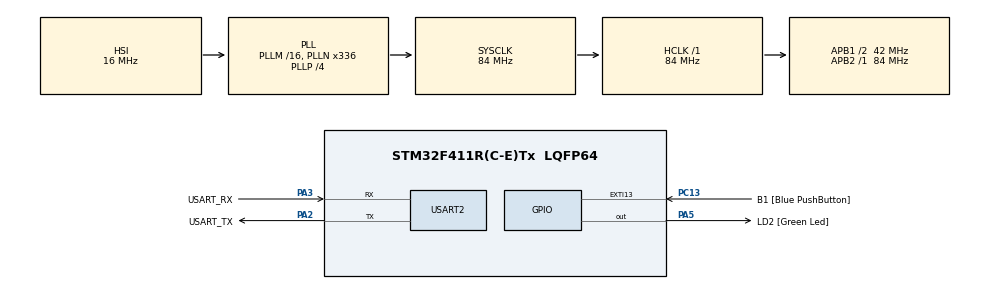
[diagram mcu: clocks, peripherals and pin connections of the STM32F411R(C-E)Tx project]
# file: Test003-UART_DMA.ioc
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Dma.Request0=USART2_RX
Dma.USART2_RX.0.Direction=DMA_PERIPH_TO_MEMORY
Dma.USART2_RX.0.FIFOMode=DMA_FIFOMODE_DISABLE
Dma.USART2_RX.0.Instance=DMA1_Stream5
Dma.USART2_RX.0.MemDataAlignment=DMA_MDATAALIGN_BYTE
Dma.USART2_RX.0.MemInc=DMA_MINC_ENABLE
Dma.USART2_RX.0.Mode=DMA_CIRCULAR
Dma.USART2_RX.0.PeriphDataAlignment=DMA_PDATAALIGN_BYTE
Dma.USART2_RX.0.PeriphInc=DMA_PINC_DISABLE
Dma.USART2_RX.0.Priority=DMA_PRIORITY_LOW
Mcu.Family=STM32F4
Mcu.Name=STM32F411R(C-E)Tx
Mcu.Package=LQFP64
NVIC.DMA1_Stream5_IRQn=true\:0\:0\:false\:false\:true\:false\:true\:true
NVIC.PriorityGroup=NVIC_PRIORITYGROUP_0
PA13.GPIO_Label=TMS
PA13.Mode=Serial_Wire
PA13.Signal=SYS_JTMS-SWDIO
PA14.GPIO_Label=TCK
PA14.Mode=Serial_Wire
PA14.Signal=SYS_JTCK-SWCLK
PA2.GPIO_Label=USART_TX
PA2.Mode=Asynchronous
PA2.Signal=USART2_TX
PA3.GPIO_Label=USART_RX
PA3.Mode=Asynchronous
PA3.Signal=USART2_RX
PA5.GPIO_Label=LD2 [Green Led]
PA5.Signal=GPIO_Output
PB3.GPIO_Label=SWO
PB3.Signal=SYS_JTDO-SWO
PC13-ANTI_TAMP.GPIO_Label=B1 [Blue PushButton]
PC13-ANTI_TAMP.GPIO_ModeDefaultEXTI=GPIO_MODE_IT_FALLING
PC13-ANTI_TAMP.Signal=GPXTI13
PC14-OSC32_IN.Mode=LSE-External-Oscillator
PC14-OSC32_IN.Signal=RCC_OSC32_IN
PC15-OSC32_OUT.Mode=LSE-External-Oscillator
PC15-OSC32_OUT.Signal=RCC_OSC32_OUT
PH0\ -\ OSC_IN.Mode=HSE-External-Clock-Source
PH0\ -\ OSC_IN.Signal=RCC_OSC_IN
PH1\ -\ OSC_OUT.Mode=HSE-External-Clock-Source
PH1\ -\ OSC_OUT.Signal=RCC_OSC_OUT
ProjectManager.HeapSize=0x200
ProjectManager.StackSize=0x400
ProjectManager.TargetToolchain=STM32CubeIDE
RCC.48MHZClocksFreq_Value=84000000
RCC.AHBFreq_Value=84000000
RCC.APB1CLKDivider=RCC_HCLK_DIV2
RCC.APB1Freq_Value=42000000
RCC.APB1TimFreq_Value=84000000
RCC.APB2Freq_Value=84000000
RCC.APB2TimFreq_Value=84000000
RCC.CortexFreq_Value=84000000
RCC.FLatency-AdvancedSettings=FLASH_LATENCY_2
RCC.HCLKFreq_Value=84000000
RCC.HSE_VALUE=8000000
RCC.HSI_VALUE=16000000
RCC.PLLN=336
RCC.PLLP=RCC_PLLP_DIV4
RCC.SYSCLKFreq_VALUE=84000000
RCC.SYSCLKSource=RCC_SYSCLKSOURCE_PLLCLK
RCC.VCOOutputFreq_Value=336000000
USART2.VirtualMode=VM_ASYNC
board=NUCLEO-F411RE

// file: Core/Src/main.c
/* USER CODE BEGIN Header */
/**
  ******************************************************************************
  * @file           : main.c
  * @brief          : Main program body
  ******************************************************************************
  * @attention
  *
  * Copyright (c) 2024 STMicroelectronics.
  * All rights reserved.
  *
  * This software is licensed under terms that can be found in the LICENSE file
  * in the root directory of this software component.
  * If no LICENSE file comes with this software, it is provided AS-IS.
  *
  ******************************************************************************
  */
/* USER CODE END Header */
#include "main.h"

UART_HandleTypeDef huart2;
DMA_HandleTypeDef hdma_usart2_rx;

void SystemClock_Config(void);
static void MX_GPIO_Init(void);
static void MX_DMA_Init(void);
static void MX_USART2_UART_Init(void);

/* USER CODE BEGIN 0 */
#define MAX_BUF 100
char Buf[MAX_BUF]; // UART DMA Buffer
int Head = 0;
int Tail = 0;
int GetBuffer(char *bb) // Valid Data Range in DMA Buffer (Buf)
{
	int ret = 0; // Length of Valid Data
	Tail = MAX_BUF - (huart2.hdmarx->Instance->NDTR); // NDTR : Remaining Buffer Size
	// huart2 : Real Variable (Not Pointer)

	if (Head == Tail) return 0;
	else
		if (Head < Tail) // 순방향
		{
			memcpy(bb, Buf + Head, (Tail - Head) ); // strcpy : Copy Char(ASCII) String
			// void* memcpy (void* dest, const void* source, size_t num)
			ret = Tail - Head;
		}
		else // Reverse Direction (Already Circulation)
		{
			memcpy(bb, Buf + Head, (MAX_BUF - Head) ); // Head to MAX_BUF
			memcpy(bb + (MAX_BUF - Head), Buf, Tail); // 00 to Tail
			ret = (MAX_BUF - Head) + Tail;
		}

	*(bb + ret) = '\0'; // After memcpy Function, no NULL at the end of char string.
	Head = Tail; // Update Head Position
	return ret;
}

/* USER CODE END 0 */

int main(void)
{

  /* MCU Configuration--------------------------------------------------------*/

  /* Reset of all peripherals, Initializes the Flash interface and the Systick. */
  HAL_Init();

  /* Configure the system clock */
  SystemClock_Config();

  /* Initialize all configured peripherals */
  MX_GPIO_Init();
  MX_DMA_Init();
  MX_USART2_UART_Init();
  /* USER CODE BEGIN 2 */
  ProgramStart("UART - DMA");

  HAL_UART_Receive_DMA(&huart2, Buf, MAX_BUF);
  // HAL_StatusTypeDef HAL_UART_Receive_DMA(UART_HandleTypeDef *huart, uint8_t *pData, uint16_t Size)
  // uint8_t *pData : Buffer
  // uint16_t Size : Buffer Size = MAX_BUF(100)

  /* USER CODE END 2 */

  /* Infinite loop */
  /* USER CODE BEGIN WHILE */
  char bb[100]; // Real Usage Local Buffer
  while (1)
  {
    /* USER CODE END WHILE */

    /* USER CODE BEGIN 3 */
	  if ( GetBuffer(bb) > 0 )// Valid Data Extraction from DMA Buffer
	  {
		  printf("Received Data : %s \r\n", bb);
		  HAL_Delay(1000);
	  }
  }
  /* USER CODE END 3 */
}

void SystemClock_Config(void)
{
  RCC_OscInitTypeDef RCC_OscInitStruct = {0};
  RCC_ClkInitTypeDef RCC_ClkInitStruct = {0};

  /** Configure the main internal regulator output voltage
  */
  __HAL_RCC_PWR_CLK_ENABLE();
  __HAL_PWR_VOLTAGESCALING_CONFIG(PWR_REGULATOR_VOLTAGE_SCALE1);

  /** Initializes the RCC Oscillators according to the specified parameters
  * in the RCC_OscInitTypeDef structure.
  */
  RCC_OscInitStruct.OscillatorType = RCC_OSCILLATORTYPE_HSI;
  RCC_OscInitStruct.HSIState = RCC_HSI_ON;
  RCC_OscInitStruct.HSICalibrationValue = RCC_HSICALIBRATION_DEFAULT;
  RCC_OscInitStruct.PLL.PLLState = RCC_PLL_ON;
  RCC_OscInitStruct.PLL.PLLSource = RCC_PLLSOURCE_HSI;
  RCC_OscInitStruct.PLL.PLLM = 16;
  RCC_OscInitStruct.PLL.PLLN = 336;
  RCC_OscInitStruct.PLL.PLLP = RCC_PLLP_DIV4;
  RCC_OscInitStruct.PLL.PLLQ = 4;
  if (HAL_RCC_OscConfig(&RCC_OscInitStruct) != HAL_OK)
  {
    Error_Handler();
  }

  /** Initializes the CPU, AHB and APB buses clocks
  */
  RCC_ClkInitStruct.ClockType = RCC_CLOCKTYPE_HCLK|RCC_CLOCKTYPE_SYSCLK
                              |RCC_CLOCKTYPE_PCLK1|RCC_CLOCKTYPE_PCLK2;
  RCC_ClkInitStruct.SYSCLKSource = RCC_SYSCLKSOURCE_PLLCLK;
  RCC_ClkInitStruct.AHBCLKDivider = RCC_SYSCLK_DIV1;
  RCC_ClkInitStruct.APB1CLKDivider = RCC_HCLK_DIV2;
  RCC_ClkInitStruct.APB2CLKDivider = RCC_HCLK_DIV1;

  if (HAL_RCC_ClockConfig(&RCC_ClkInitStruct, FLASH_LATENCY_2) != HAL_OK)
  {
    Error_Handler();
  }
}

static void MX_USART2_UART_Init(void)
{

  huart2.Instance = USART2;
  huart2.Init.BaudRate = 115200;
  huart2.Init.WordLength = UART_WORDLENGTH_8B;
  huart2.Init.StopBits = UART_STOPBITS_1;
  huart2.Init.Parity = UART_PARITY_NONE;
  huart2.Init.Mode = UART_MODE_TX_RX;
  huart2.Init.HwFlowCtl = UART_HWCONTROL_NONE;
  huart2.Init.OverSampling = UART_OVERSAMPLING_16;
  if (HAL_UART_Init(&huart2) != HAL_OK)
  {
    Error_Handler();
  }

}

static void MX_DMA_Init(void)
{

  /* DMA controller clock enable */
  __HAL_RCC_DMA1_CLK_ENABLE();

  /* DMA interrupt init */
  /* DMA1_Stream5_IRQn interrupt configuration */
  HAL_NVIC_SetPriority(DMA1_Stream5_IRQn, 0, 0);
  HAL_NVIC_EnableIRQ(DMA1_Stream5_IRQn);

}

static void MX_GPIO_Init(void)
{
  GPIO_InitTypeDef GPIO_InitStruct = {0};

  /* GPIO Ports Clock Enable */
  __HAL_RCC_GPIOC_CLK_ENABLE();
  __HAL_RCC_GPIOH_CLK_ENABLE();
  __HAL_RCC_GPIOA_CLK_ENABLE();
  __HAL_RCC_GPIOB_CLK_ENABLE();

  /*Configure GPIO pin Output Level */
  HAL_GPIO_WritePin(LD2_GPIO_Port, LD2_Pin, GPIO_PIN_RESET);

  /*Configure GPIO pin : B1_Pin */
  GPIO_InitStruct.Pin = B1_Pin;
  GPIO_InitStruct.Mode = GPIO_MODE_IT_FALLING;
  GPIO_InitStruct.Pull = GPIO_NOPULL;
  HAL_GPIO_Init(B1_GPIO_Port, &GPIO_InitStruct);

  /*Configure GPIO pin : LD2_Pin */
  GPIO_InitStruct.Pin = LD2_Pin;
  GPIO_InitStruct.Mode = GPIO_MODE_OUTPUT_PP;
  GPIO_InitStruct.Pull = GPIO_NOPULL;
  GPIO_InitStruct.Speed = GPIO_SPEED_FREQ_LOW;
  HAL_GPIO_Init(LD2_GPIO_Port, &GPIO_InitStruct);

}

void Error_Handler(void)
{
  __disable_irq();
  while (1)
  {
  }
}
